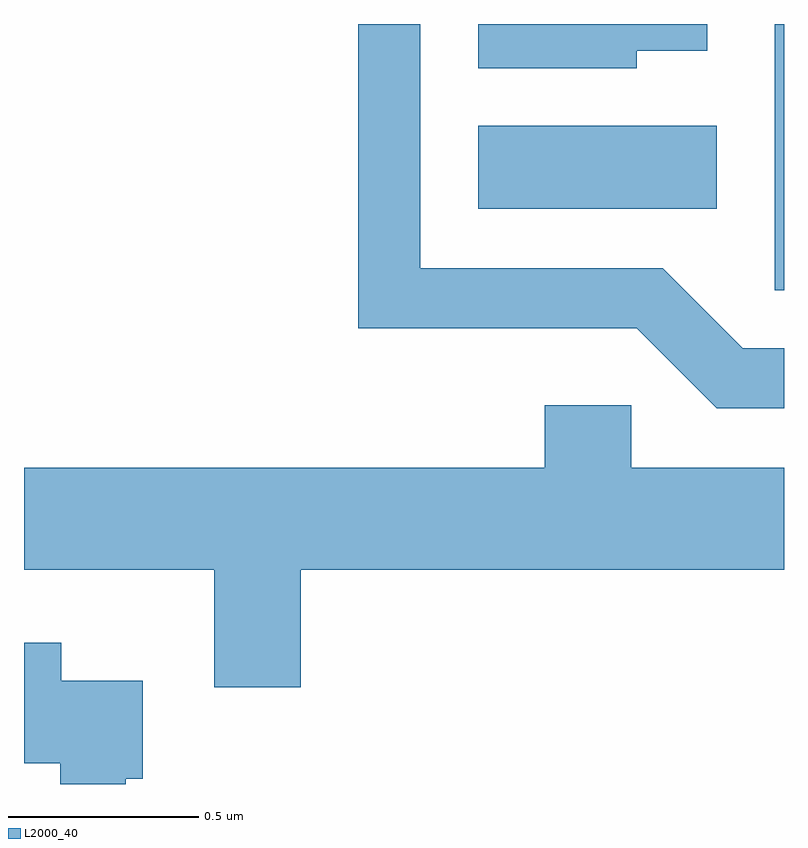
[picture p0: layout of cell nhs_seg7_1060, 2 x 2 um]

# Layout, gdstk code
import gdstk
lib = gdstk.Library(unit=1e-6, precision=1e-09)
def R(c, l, rs):  # rectangles x0, y0, x1, y1
    for r in rs: c.add(gdstk.rectangle(r[:2], r[2:], *l))
def P(c, l, *ps):  # polygons
    for p in ps: c.add(gdstk.Polygon(p, *l))
L2000_40 = (2000, 40)

nhs_seg7_1060 = lib.new_cell('nhs_seg7_1060')
R(nhs_seg7_1060, L2000_40, [(194.586,1770.551,194.611,1771.252), (193.806,1770.766,194.434,1770.984)])
P(nhs_seg7_1060, L2000_40, [(194.224,1771.181),(194.409,1771.181),(194.409,1771.252),(193.806,1771.252),(193.806,1771.136),(194.224,1771.136)],
  [(194.611,1770.399),(194.502,1770.399),(194.292,1770.609),(193.654,1770.609),(193.654,1771.252),(193.491,1771.252),(193.491,1770.451),(194.224,1770.451),(194.434,1770.241),(194.611,1770.241)],
  [(193.339,1769.816),(194.611,1769.816),(194.611,1770.084),(194.209,1770.084),(194.209,1770.249),(193.981,1770.249),(193.981,1770.084),(192.611,1770.084),(192.611,1769.816),(193.111,1769.816),(193.111,1769.506),(193.339,1769.506)],
  [(192.879,1769.266),(192.924,1769.266),(192.924,1769.524),(192.709,1769.524),(192.709,1769.624),(192.611,1769.624),(192.611,1769.306),(192.706,1769.306),(192.706,1769.252),(192.879,1769.252)])

lib.write_gds('nhs_seg7_1060.gds')
